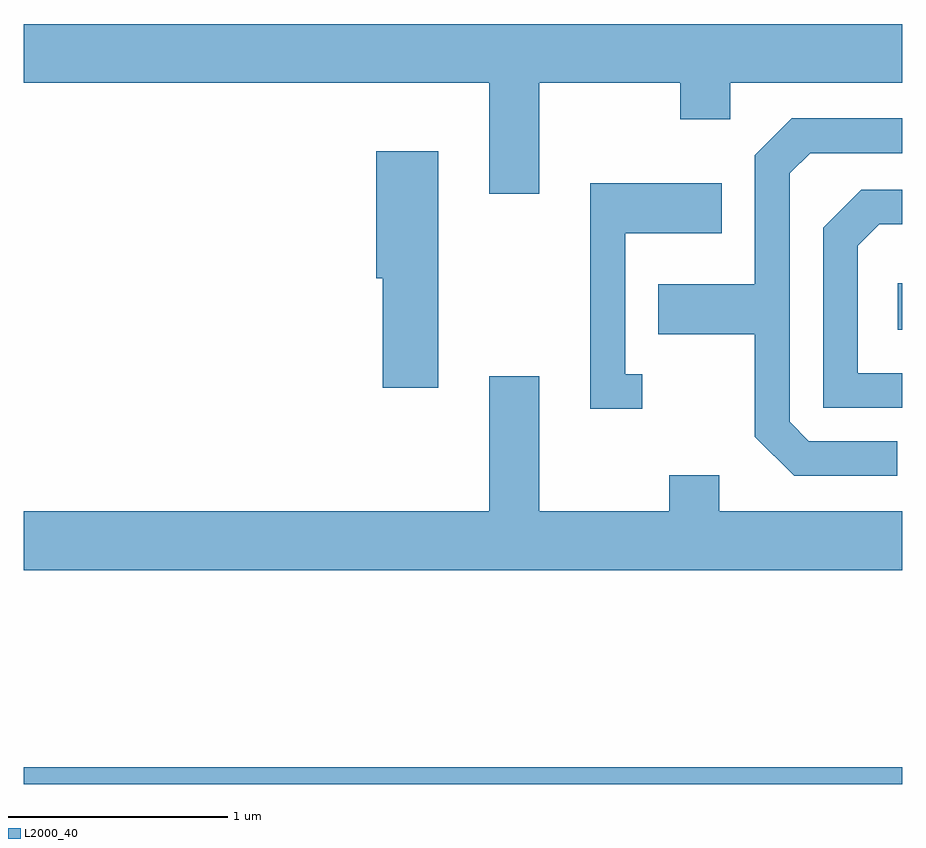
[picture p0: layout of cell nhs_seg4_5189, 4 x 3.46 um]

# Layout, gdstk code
import gdstk
lib = gdstk.Library(unit=1e-6, precision=1e-09)
def R(c, l, rs):  # rectangles x0, y0, x1, y1
    for r in rs: c.add(gdstk.rectangle(r[:2], r[2:], *l))
def P(c, l, *ps):  # polygons
    for p in ps: c.add(gdstk.Polygon(p, *l))
L2000_40 = (2000, 40)

nhs_seg4_5189 = lib.new_cell('nhs_seg4_5189')
R(nhs_seg4_5189, L2000_40, [(337.611,1295.982,341.611,1296.059), (341.591,1298.051,341.611,1298.264)])
P(nhs_seg4_5189, L2000_40, [(337.611,1299.176),(339.731,1299.176),(339.731,1298.671),(339.959,1298.671),(339.959,1299.176),(340.601,1299.176),(340.601,1299.011),(340.829,1299.011),(340.829,1299.176),(341.611,1299.176),(341.611,1299.444),(337.611,1299.444)],
  [(341.588,1297.544),(341.187,1297.544),(341.099,1297.632),(341.099,1298.764),(341.192,1298.856),(341.611,1298.856),(341.611,1299.014),(341.109,1299.014),(340.941,1298.847),(340.941,1298.259),(340.501,1298.259),(340.501,1298.031),(340.941,1298.031),(340.941,1297.564),(341.119,1297.386),(341.588,1297.386)],
  [(339.499,1298.864),(339.216,1298.864),(339.216,1298.286),(339.246,1298.286),(339.246,1297.786),(339.499,1297.786)],
  [(340.428,1297.849),(340.349,1297.849),(340.349,1298.491),(340.789,1298.491),(340.789,1298.719),(340.191,1298.719),(340.191,1297.691),(340.428,1297.691)],
  [(341.611,1297.854),(341.409,1297.854),(341.409,1298.434),(341.507,1298.531),(341.611,1298.531),(341.611,1298.689),(341.424,1298.689),(341.251,1298.517),(341.251,1297.696),(341.611,1297.696)],
  [(341.611,1297.224),(340.779,1297.224),(340.779,1297.389),(340.551,1297.389),(340.551,1297.224),(339.959,1297.224),(339.959,1297.839),(339.731,1297.839),(339.731,1297.224),(337.611,1297.224),(337.611,1296.956),(341.611,1296.956)])

lib.write_gds('nhs_seg4_5189.gds')
